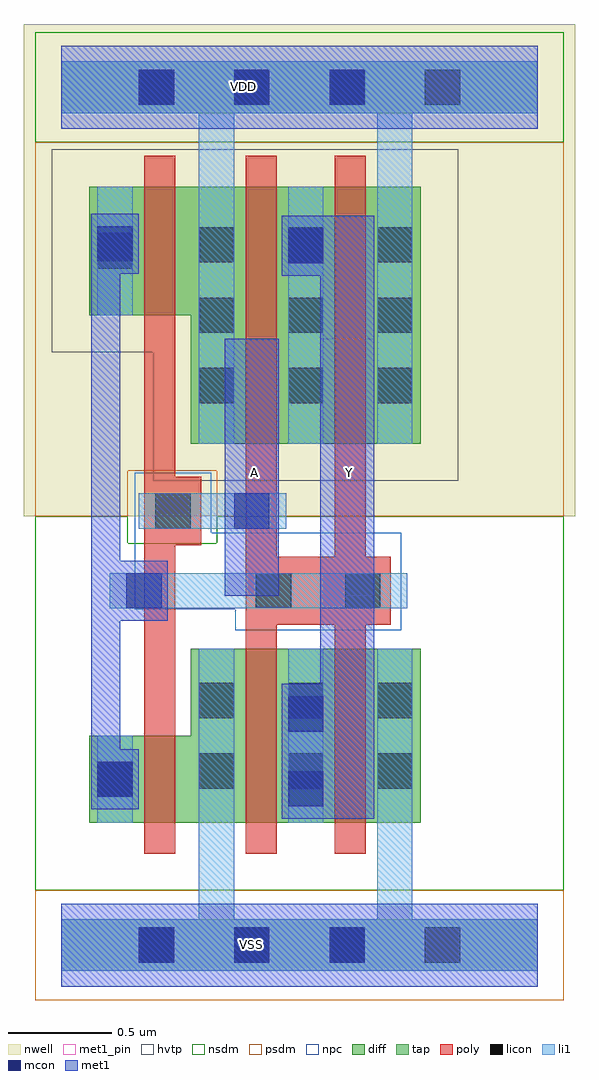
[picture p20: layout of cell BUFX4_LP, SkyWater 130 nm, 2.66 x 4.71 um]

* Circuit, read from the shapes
.subckt BUFX4_LP A VDD VSS Y
XM1 VSS A n1 VSS sky130_fd_pr__nfet_01v8 w=0.42 l=0.15
XM2 Y n1 VSS VSS sky130_fd_pr__nfet_01v8 w=0.84 l=0.15 m=2
XM3 VDD A n1 VDD sky130_fd_pr__pfet_01v8_hvt w=0.62 l=0.15
XM4 Y n1 VDD VDD sky130_fd_pr__pfet_01v8_hvt w=1.24 l=0.15 m=2
.ends

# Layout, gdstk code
from math import pi, radians
import gdstk
lib = gdstk.Library(unit=1e-6, precision=1e-09)
def R(c, l, rs):  # rectangles x0, y0, x1, y1
    for r in rs: c.add(gdstk.rectangle(r[:2], r[2:], *l))
def A(c, l, x, y, w, h, nx, ny, dx, dy):  # array of equal rectangles
    R(c, l, [(x+i*dx, y+j*dy, x+i*dx+w, y+j*dy+h) for i in range(nx) for j in range(ny)])
def P(c, l, *ps):  # polygons
    for p in ps: c.add(gdstk.Polygon(p, *l))
nwell = (64, 20)
diff = (65, 20)
tap = (65, 44)
poly = (66, 20)
licon = (66, 44)
li1 = (67, 20)
mcon = (67, 44)
met1_pin = (68, 16)
met1 = (68, 20)
hvtp = (78, 44)
nsdm = (93, 44)
psdm = (94, 20)
npc = (95, 20)

pyl1con_c_cdns_750721840 = lib.new_cell('PYL1CON_C_CDNS_750721840972')
R(pyl1con_c_cdns_750721840, poly, [(-0.135,-0.165,0.135,0.165)])
R(pyl1con_c_cdns_750721840, licon, [(-0.085,-0.085,0.085,0.085)])
R(pyl1con_c_cdns_750721840, npc, [(-0.185,-0.185,0.185,0.185)])

l1m1_c_cdns_750721840975 = lib.new_cell('L1M1_C_CDNS_750721840975')
R(l1m1_c_cdns_750721840975, li1, [(-0.085,-0.345,0.085,0.345)])
R(l1m1_c_cdns_750721840975, mcon, [(-0.085,-0.265,0.085,-0.095), (-0.085,0.095,0.085,0.265)])
R(l1m1_c_cdns_750721840975, met1, [(-0.115,-0.325,0.115,0.325)])

l1m1_c_cdns_750721840971 = lib.new_cell('L1M1_C_CDNS_750721840971')
R(l1m1_c_cdns_750721840971, li1, [(-0.085,-0.165,0.085,0.165)])
R(l1m1_c_cdns_750721840971, mcon, [(-0.085,-0.085,0.085,0.085)])
R(l1m1_c_cdns_750721840971, met1, [(-0.115,-0.145,0.115,0.145)])

l1m1_c_cdns_750721840973 = lib.new_cell('L1M1_C_CDNS_750721840973')
R(l1m1_c_cdns_750721840973, li1, [(-0.165,-0.085,0.165,0.085)])
R(l1m1_c_cdns_750721840973, mcon, [(-0.085,-0.085,0.085,0.085)])
R(l1m1_c_cdns_750721840973, met1, [(-0.115,-0.145,0.115,0.145)])

c_l1m1_c_cdns_750721840971 = lib.new_cell('L1M1_C_CDNS_7507218409714')
R(c_l1m1_c_cdns_750721840971, li1, [(-0.115,-0.165,0.055,0.165)])
R(c_l1m1_c_cdns_750721840971, mcon, [(-0.115,-0.085,0.055,0.085)])
R(c_l1m1_c_cdns_750721840971, met1, [(-0.145,-0.145,0.085,0.145)])

bufx4_lp = lib.new_cell('BUFX4_LP')
R(bufx4_lp, nwell, [(-0.18,2.07,2.48,4.305), (0.445,2.24,1.915,3.84), (-0.045,2.86,0.805,3.84), (-0.18,3.875,2.48,4.445)])
R(bufx4_lp, diff, [(0.135,0.59,0.4,1.01), (0.4,0.59,0.55,1.01), (0.55,0.59,0.625,1.01), (0.625,0.59,0.89,1.43), (0.89,0.59,1.04,1.43), (1.04,0.59,1.32,1.43), (1.32,0.59,1.47,1.43), (1.47,0.59,1.735,1.43), (0.625,2.42,0.89,3.66), (0.89,2.42,1.04,3.66), (1.04,2.42,1.32,3.66), (1.32,2.42,1.47,3.66), (1.47,2.42,1.735,3.66), (0.135,3.04,0.4,3.66), (0.4,3.04,0.55,3.66), (0.55,3.04,0.625,3.66)])
R(bufx4_lp, poly, [(0.4,0.44,0.55,0.495), (0.89,0.44,1.04,0.495), (1.32,0.44,1.47,0.495), (0.4,0.495,0.55,0.59), (0.89,0.495,1.04,0.59), (1.32,0.495,1.47,0.59), (0.4,0.59,0.55,1.01), (0.89,0.59,1.04,1.43), (1.32,0.59,1.47,1.43), (0.4,1.01,0.55,1.105), (0.4,1.105,0.55,1.16), (0.89,1.43,1.04,1.525), (1.32,1.43,1.47,1.525), (0.89,1.525,1.04,1.58), (1.32,1.525,1.47,1.58), (0.89,1.545,1.59,1.875), (0.89,2.27,1.04,2.325), (1.32,2.27,1.47,2.325), (0.89,2.325,1.04,2.42), (1.32,2.325,1.47,2.42), (0.89,2.42,1.04,3.66), (1.32,2.42,1.47,3.66), (0.4,2.89,0.55,2.945), (0.4,2.945,0.55,3.04), (0.4,3.04,0.55,3.66), (0.4,3.66,0.55,3.755), (0.89,3.66,1.04,3.755), (1.32,3.66,1.47,3.755), (0.4,3.755,0.55,3.81), (0.89,3.755,1.04,3.81), (1.32,3.755,1.47,3.81)])
A(bufx4_lp, licon, 0.375, -0.085, 0.17, 0.17, 4, 2, 0.46, 4.14)
A(bufx4_lp, licon, 0.665, 0.755, 0.17, 0.17, 3, 2, 0.43, 0.34)
A(bufx4_lp, licon, 0.665, 2.615, 0.17, 0.17, 3, 3, 0.43, 0.34)
R(bufx4_lp, licon, [(0.175,0.715,0.345,0.885), (0.175,3.265,0.345,3.435)])
A(bufx4_lp, li1, 0.665, 0.59, 0.17, 0.84, 3, 1, 0.43, 0)
A(bufx4_lp, li1, 0.665, 2.42, 0.17, 1.24, 3, 1, 0.43, 0)
R(bufx4_lp, li1, [(0.175,0.59,0.345,1.01), (0.175,3.04,0.345,3.66)])
A(bufx4_lp, mcon, 0.375, -0.085, 0.17, 0.17, 3, 2, 0.46, 4.14)
R(bufx4_lp, met1_pin, [(0.79,1.685,1.05,2.925), (1.25,1.685,1.51,2.925)])
R(bufx4_lp, hvtp, [(0.445,2.24,1.915,3.84), (-0.045,2.86,0.805,3.84)])
R(bufx4_lp, nsdm, [(-0.005,0.46,0.505,1.14), (0.485,0.46,1.875,1.56), (-0.125,3.875,2.425,4.405), (-0.125,3.93,2.425,4.35)])
P(bufx4_lp, nsdm, [(2.425,2.07),(0.75,2.07),(0.75,1.94),(0.32,1.94),(0.32,2.07),(-0.125,2.07),(-0.125,0.265),(2.425,0.265)])
R(bufx4_lp, psdm, [(-0.125,-0.265,2.425,0.265), (-0.125,-0.21,2.425,0.21), (0.485,2.29,1.875,3.79), (-0.005,2.91,0.505,3.79)])
P(bufx4_lp, psdm, [(2.425,3.875),(-0.125,3.875),(-0.125,2.07),(0.32,2.07),(0.32,2.29),(0.75,2.29),(0.75,2.07),(2.425,2.07)])
R(bufx4_lp, npc, [(0.84,1.52,1.64,1.99), (0.355,1.62,1.64,1.99)])
bufx4_lp.add(gdstk.FlexPath([(0.475,1.16),(0.475,2.89)], 0.15, ends="flush", simple_path=True, layer=66, datatype=20))  # poly
bufx4_lp.add(gdstk.FlexPath([(1.395,2.27),(1.395,1.5)], 0.15, ends="flush", simple_path=True, layer=66, datatype=20))  # poly
bufx4_lp.add(gdstk.FlexPath([(0.965,2.27),(0.965,1.5)], 0.15, ends="flush", simple_path=True, layer=66, datatype=20))  # poly
bufx4_lp.add(gdstk.FlexPath([(1.61,0.59),(1.61,0)], 0.17, ends=(0, 0.125), simple_path=True, layer=67, datatype=20))  # li1
bufx4_lp.add(gdstk.FlexPath([(0.75,0),(0.69,0)], 0.17, ends=(0.085, 0), simple_path=True, layer=67, datatype=20))  # li1
bufx4_lp.add(gdstk.FlexPath([(0.75,0.59),(0.75,0)], 0.17, ends=(0, 0.085), simple_path=True, layer=67, datatype=20))  # li1
bufx4_lp.add(gdstk.FlexPath([(1.61,3.55),(1.61,4.14)], 0.17, ends=(0, 0.125), simple_path=True, layer=67, datatype=20))  # li1
bufx4_lp.add(gdstk.FlexPath([(0.75,4.14),(0.69,4.14)], 0.17, ends=(0.085, 0), simple_path=True, layer=67, datatype=20))  # li1
bufx4_lp.add(gdstk.FlexPath([(0,4.14),(2.3,4.14)], 0.25, ends="flush", simple_path=True, layer=67, datatype=20))  # li1
bufx4_lp.add(gdstk.FlexPath([(0.92,2.095),(0.375,2.095)], 0.17, ends="flush", simple_path=True, layer=67, datatype=20))  # li1
bufx4_lp.add(gdstk.FlexPath([(0.75,3.55),(0.75,4.14)], 0.17, ends=(0, 0.085), simple_path=True, layer=67, datatype=20))  # li1
bufx4_lp.add(gdstk.FlexPath([(0.305,1.71),(1.67,1.71)], 0.17, ends="flush", simple_path=True, layer=67, datatype=20))  # li1
bufx4_lp.add(gdstk.FlexPath([(0,0),(2.3,0)], 0.25, ends="flush", simple_path=True, layer=67, datatype=20))  # li1
bufx4_lp.add(gdstk.FlexPath([(0.92,1.685),(0.92,2.925)], 0.26, ends="flush", simple_path=True, layer=68, datatype=20))  # met1
bufx4_lp.add(gdstk.FlexPath([(0.215,0.8),(0.23,0.8)], 0.14, ends=(0.07, 0), simple_path=True, layer=68, datatype=20))  # met1
bufx4_lp.add(gdstk.FlexPath([(1.38,0.61),(1.38,3.52)], 0.26, ends="flush", simple_path=True, layer=68, datatype=20))  # met1
bufx4_lp.add(gdstk.FlexPath([(0,0),(2.3,0)], 0.4, ends="flush", simple_path=True, layer=68, datatype=20))  # met1
bufx4_lp.add(gdstk.FlexPath([(0.215,3.46),(0.215,0.8)], 0.14, ends="extended", simple_path=True, layer=68, datatype=20))  # met1
bufx4_lp.add(gdstk.FlexPath([(0,4.14),(2.3,4.14)], 0.4, ends="flush", simple_path=True, layer=68, datatype=20))  # met1
bufx4_lp.add(gdstk.FlexPath([(0,4.14),(2.3,4.14)], 0.25, ends="flush", simple_path=True, layer=65, datatype=44))  # tap
bufx4_lp.add(gdstk.FlexPath([(0,0),(2.3,0)], 0.25, ends="flush", simple_path=True, layer=65, datatype=44))  # tap
bufx4_lp.add(gdstk.FlexPath([(0,4.14),(2.3,4.14)], 0.4, ends="flush", simple_path=True, layer=68, datatype=16))  # met1_pin
bufx4_lp.add(gdstk.FlexPath([(0,0),(2.3,0)], 0.4, ends="flush", simple_path=True, layer=68, datatype=16))  # met1_pin
bufx4_lp.add(gdstk.Reference(pyl1con_c_cdns_750721840, (1.025,1.71), rotation=pi))
bufx4_lp.add(gdstk.Reference(pyl1con_c_cdns_750721840, (0.54,2.095), x_reflection=True))
bufx4_lp.add(gdstk.Reference(pyl1con_c_cdns_750721840, (1.455,1.71), rotation=pi))
bufx4_lp.add(gdstk.Reference(l1m1_c_cdns_750721840975, (1.18,0.935)))
bufx4_lp.add(gdstk.Reference(l1m1_c_cdns_750721840971, (0.26,3.385), rotation=pi, x_reflection=True))
bufx4_lp.add(gdstk.Reference(l1m1_c_cdns_750721840971, (1.18,3.375)))
bufx4_lp.add(gdstk.Reference(l1m1_c_cdns_750721840973, (0.4,1.71)))
bufx4_lp.add(gdstk.Reference(l1m1_c_cdns_750721840973, (0.92,2.095), x_reflection=True))
bufx4_lp.add(gdstk.Reference(c_l1m1_c_cdns_750721840971, (0.23,0.8), rotation=pi, x_reflection=True))
bufx4_lp.add(gdstk.Label('Y', (1.39,2.28), layer=68, texttype=5))
bufx4_lp.add(gdstk.Label('A', (0.935,2.28), layer=68, texttype=5))
bufx4_lp.add(gdstk.Label('VDD', (0.88,4.145), layer=68, texttype=5))
bufx4_lp.add(gdstk.Label('VSS', (0.92,0.005), layer=68, texttype=5))

lib.write_gds('BUFX4_LP.gds')
